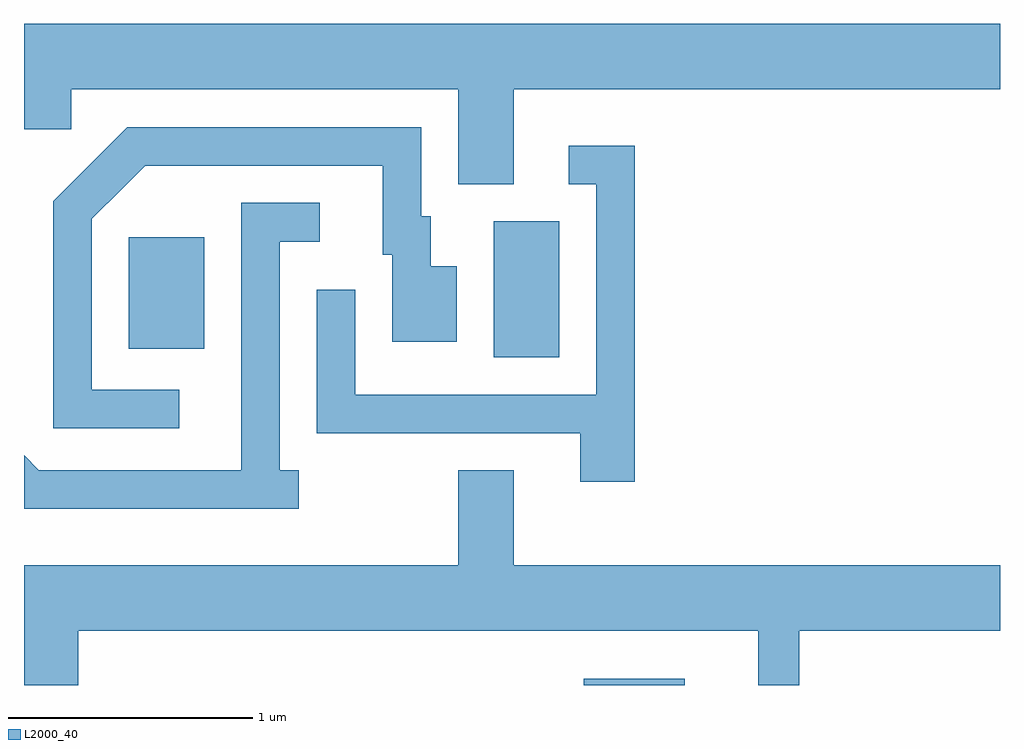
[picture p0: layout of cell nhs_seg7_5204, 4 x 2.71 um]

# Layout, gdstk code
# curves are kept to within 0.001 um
import gdstk
lib = gdstk.Library(unit=1e-6, precision=1e-09)
def R(c, l, rs):  # rectangles x0, y0, x1, y1
    for r in rs: c.add(gdstk.rectangle(r[:2], r[2:], *l))
def P(c, l, *ps):  # polygons
    for p in ps: c.add(gdstk.Polygon(p, *l))
L2000_40 = (2000, 40)

nhs_seg7_5204 = lib.new_cell('nhs_seg7_5204')
R(nhs_seg7_5204, L2000_40, [(345.906,1776.252,346.319,1776.279), (345.536,1777.596,345.804,1778.154), (344.041,1777.631,344.349,1778.089)])
P(nhs_seg7_5204, L2000_40, [(345.619,1778.696),(347.611,1778.696),(347.611,1778.964),(343.611,1778.964),(343.611,1778.531),(343.804,1778.531),(343.804,1778.696),(345.391,1778.696),(345.391,1778.306),(345.619,1778.306)],
  [(344.248,1777.464),(343.889,1777.464),(343.889,1778.164),(344.107,1778.381),(345.081,1778.381),(345.081,1778.016),(345.121,1778.016),(345.121,1777.661),(345.384,1777.661),(345.384,1777.969),(345.279,1777.969),(345.279,1778.174),(345.239,1778.174),(345.239,1778.539),(344.034,1778.539),(343.731,1778.237),(343.731,1777.306),(344.248,1777.306)],
  [(346.114,1778.464),(345.843,1778.464),(345.843,1778.306),(345.956,1778.306),(345.956,1777.444),(344.969,1777.444),(344.969,1777.873),(344.811,1777.873),(344.811,1777.286),(345.891,1777.286),(345.891,1777.086),(346.114,1777.086)],
  [(344.738,1777.134),(344.659,1777.134),(344.659,1778.071),(344.823,1778.071),(344.823,1778.229),(344.501,1778.229),(344.501,1777.134),(343.672,1777.134),(343.611,1777.195),(343.611,1776.976),(344.738,1776.976)],
  [(343.834,1776.476),(346.621,1776.476),(346.621,1776.252),(346.789,1776.252),(346.789,1776.476),(347.611,1776.476),(347.611,1776.744),(345.619,1776.744),(345.619,1777.134),(345.391,1777.134),(345.391,1776.744),(343.611,1776.744),(343.611,1776.252),(343.834,1776.252)])

lib.write_gds('nhs_seg7_5204.gds')
